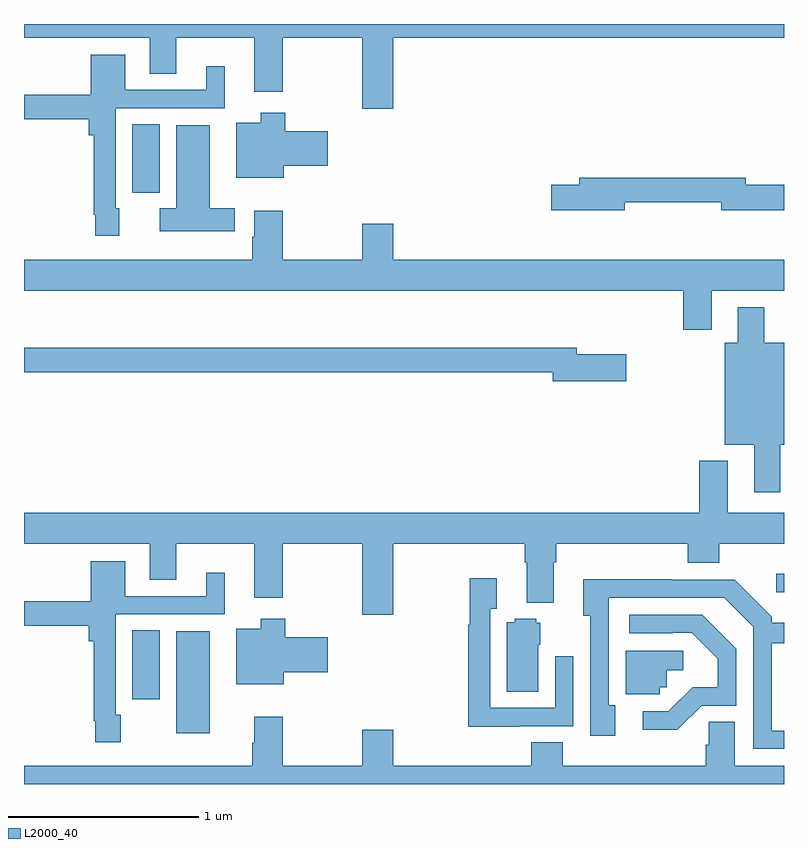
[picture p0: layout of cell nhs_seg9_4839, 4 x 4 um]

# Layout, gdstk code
import gdstk
lib = gdstk.Library(unit=1e-6, precision=1e-09)
def R(c, l, rs):  # rectangles x0, y0, x1, y1
    for r in rs: c.add(gdstk.rectangle(r[:2], r[2:], *l))
def P(c, l, *ps):  # polygons
    for p in ps: c.add(gdstk.Polygon(p, *l))
L2000_40 = (2000, 40)

nhs_seg9_4839 = lib.new_cell('nhs_seg9_4839')
R(nhs_seg9_4839, L2000_40, [(391.802,1184.768,391.978,1185.304), (391.571,1184.946,391.714,1185.308), (394.959,1185.509,395,1185.607), (391.571,1187.611,391.714,1187.972)])
P(nhs_seg9_4839, L2000_40, [(392.944,1188.428),(395,1188.428),(395,1188.5),(391,1188.5),(391,1188.428),(391.661,1188.428),(391.661,1188.238),(391.801,1188.238),(391.801,1188.428),(392.213,1188.428),(392.213,1188.144),(392.361,1188.144),(392.361,1188.428),(392.78,1188.428),(392.78,1188.054),(392.944,1188.054)],
  [(391.501,1187.529),(391.482,1187.529),(391.482,1188.057),(392.056,1188.057),(392.056,1188.277),(391.958,1188.277),(391.958,1188.153),(391.534,1188.153),(391.534,1188.337),(391.352,1188.337),(391.352,1188.127),(391,1188.127),(391,1187.998),(391.34,1187.998),(391.34,1187.915),(391.366,1187.915),(391.366,1187.497),(391.374,1187.497),(391.374,1187.385),(391.501,1187.385)],
  [(392.368,1187.753),(392.599,1187.753),(392.599,1187.936),(392.376,1187.936),(392.376,1188.034),(392.246,1188.034),(392.246,1187.98),(392.117,1187.98),(392.117,1187.69),(392.368,1187.69)],
  [(392.11,1187.53),(391.978,1187.53),(391.978,1187.968),(391.802,1187.968),(391.802,1187.53),(391.714,1187.53),(391.714,1187.408),(392.11,1187.408)],
  [(394.162,1187.562),(394.67,1187.562),(394.67,1187.519),(395,1187.519),(395,1187.654),(394.798,1187.654),(394.798,1187.69),(393.923,1187.69),(393.923,1187.654),(393.774,1187.654),(393.774,1187.519),(394.162,1187.519)],
  [(394.621,1187.096),(395,1187.096),(395,1187.26),(392.944,1187.26),(392.944,1187.449),(392.78,1187.449),(392.78,1187.26),(392.361,1187.26),(392.361,1187.518),(392.213,1187.518),(392.213,1187.381),(392.201,1187.381),(392.201,1187.26),(391,1187.26),(391,1187.096),(394.469,1187.096),(394.469,1186.89),(394.621,1186.89)],
  [(394.981,1186.286),(395,1186.286),(395,1186.822),(394.897,1186.822),(394.897,1187.008),(394.757,1187.008),(394.757,1186.822),(394.688,1186.822),(394.688,1186.286),(394.844,1186.286),(394.844,1186.035),(394.981,1186.035)],
  [(394.171,1186.761),(393.91,1186.761),(393.91,1186.795),(391,1186.795),(391,1186.666),(393.782,1186.666),(393.782,1186.619),(394.171,1186.619)],
  [(392.944,1185.764),(393.635,1185.764),(393.635,1185.668),(393.647,1185.668),(393.647,1185.455),(393.787,1185.455),(393.787,1185.668),(393.8,1185.668),(393.8,1185.764),(394.493,1185.764),(394.493,1185.665),(394.658,1185.665),(394.658,1185.764),(395,1185.764),(395,1185.928),(394.705,1185.928),(394.705,1186.201),(394.553,1186.201),(394.553,1185.928),(391,1185.928),(391,1185.764),(391.661,1185.764),(391.661,1185.574),(391.801,1185.574),(391.801,1185.764),(392.213,1185.764),(392.213,1185.48),(392.361,1185.48),(392.361,1185.764),(392.78,1185.764),(392.78,1185.39),(392.944,1185.39)],
  [(391.509,1184.865),(391.482,1184.865),(391.482,1185.393),(392.056,1185.393),(392.056,1185.613),(391.958,1185.613),(391.958,1185.489),(391.534,1185.489),(391.534,1185.673),(391.352,1185.673),(391.352,1185.463),(391,1185.463),(391,1185.334),(391.34,1185.334),(391.34,1185.251),(391.366,1185.251),(391.366,1184.833),(391.374,1184.833),(391.374,1184.721),(391.509,1184.721)],
  [(393.607,1184.805),(393.891,1184.805),(393.891,1185.172),(393.795,1185.172),(393.795,1184.901),(393.453,1184.901),(393.453,1185.422),(393.487,1185.422),(393.487,1185.583),(393.345,1185.583),(393.345,1185.338),(393.337,1185.338),(393.337,1184.801),(393.607,1184.801)],
  [(395,1184.781),(394.936,1184.781),(394.936,1185.24),(395,1185.24),(395,1185.349),(394.935,1185.349),(394.935,1185.381),(394.74,1185.576),(394.409,1185.576),(394.409,1185.578),(393.944,1185.578),(393.944,1185.386),(393.981,1185.386),(393.981,1184.754),(394.111,1184.754),(394.111,1184.914),(394.077,1184.914),(394.077,1185.48),(394.686,1185.48),(394.839,1185.327),(394.839,1184.685),(395,1184.685)],
  [(394.566,1184.913),(394.749,1184.913),(394.749,1185.211),(394.57,1185.39),(394.185,1185.39),(394.185,1185.294),(394.415,1185.294),(394.415,1185.297),(394.515,1185.297),(394.652,1185.16),(394.652,1185.01),(394.519,1185.01),(394.392,1184.883),(394.257,1184.883),(394.257,1184.786),(394.438,1184.786)],
  [(393.706,1185.234),(393.718,1185.234),(393.718,1185.348),(393.696,1185.348),(393.696,1185.37),(393.582,1185.37),(393.582,1185.352),(393.542,1185.352),(393.542,1184.986),(393.706,1184.986)],
  [(392.368,1185.089),(392.599,1185.089),(392.599,1185.272),(392.376,1185.272),(392.376,1185.37),(392.246,1185.37),(392.246,1185.316),(392.117,1185.316),(392.117,1185.026),(392.368,1185.026)],
  [(394.347,1185.009),(394.383,1185.009),(394.383,1185.098),(394.471,1185.098),(394.471,1185.201),(394.166,1185.201),(394.166,1184.973),(394.347,1184.973)],
  [(395,1184.596),(394.741,1184.596),(394.741,1184.828),(394.603,1184.828),(394.603,1184.706),(394.589,1184.706),(394.589,1184.596),(393.836,1184.596),(393.836,1184.72),(393.671,1184.72),(393.671,1184.596),(392.944,1184.596),(392.944,1184.785),(392.78,1184.785),(392.78,1184.596),(392.361,1184.596),(392.361,1184.854),(392.213,1184.854),(392.213,1184.717),(392.201,1184.717),(392.201,1184.596),(391,1184.596),(391,1184.5),(395,1184.5)])

lib.write_gds('nhs_seg9_4839.gds')
